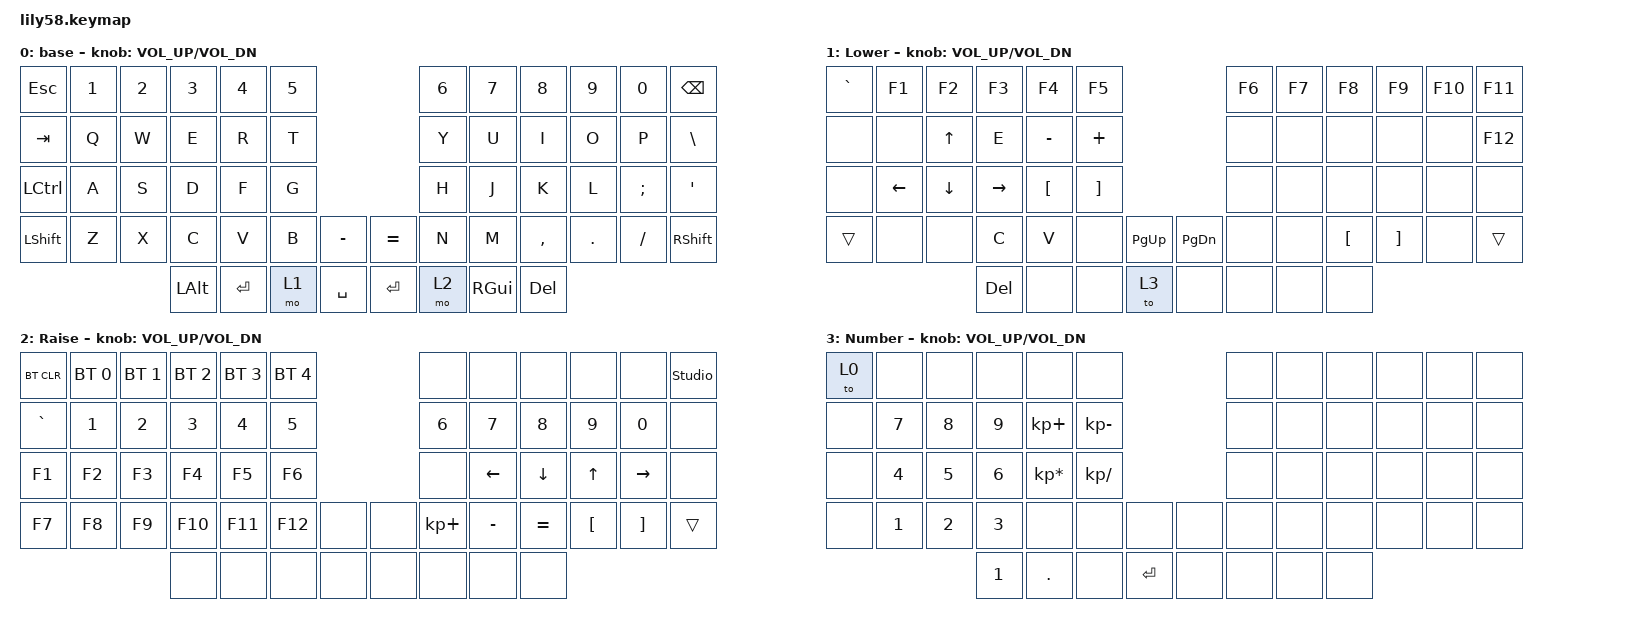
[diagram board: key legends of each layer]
/*
 * Copyright (c) 2020 The ZMK Contributors
 *
 * SPDX-License-Identifier: MIT
 */

#include <behaviors.dtsi>
#include <dt-bindings/zmk/bt.h>
#include <dt-bindings/zmk/ext_power.h>
#include <dt-bindings/zmk/keys.h>



/ {
    keymap {
        compatible = "zmk,keymap";

        default_layer {
              display-name = "base";
// ------------------------------------------------------------------------------------------------------------
// |  ESC  |  1  |  2  |  3   |  4   |  5   |                   |  6   |  7    |  8    |  9   |   0   |  BSPC |
// |  TAB  |  Q  |  W  |  E   |  R   |  T   |                   |  Y   |  U    |  I    |  O   |   P   |   \   |
// |  CTRL |  A  |  S  |  D   |  F   |  G   |                   |  H   |  J    |  K    |  L   |   ;   |   '   |
// | SHIFT |  Z  |  X  |  C   |  V   |  B   |   "_"  |  |  "="  |  N   |  M    |  ,    |  .   |   /   | SHIFT |
//                     | ALT  | ENT  | LOWER|  SPACE |  | ENTER | RAISE|  GUI  | DEL   |
            bindings = <
&kp ESC   &kp N1 &kp N2 &kp N3   &kp N4   &kp N5                      &kp N6 &kp N7    &kp N8    &kp N9  &kp N0   &kp BSPC
&kp TAB   &kp Q  &kp W  &kp E    &kp R    &kp T                       &kp Y  &kp U     &kp I     &kp O   &kp P    &kp BSLH
&kp LCTRL &kp A  &kp S  &kp D    &kp F    &kp G                       &kp H  &kp J     &kp K     &kp L   &kp SEMI &kp SQT
&kp LSHFT &kp Z  &kp X  &kp C    &kp V    &kp B  &kp MINUS  &kp EQUAL &kp N  &kp M     &kp COMMA &kp DOT &kp FSLH &kp RSHFT
                        &kp LALT &kp RET  &mo 1  &kp SPACE  &kp RET   &mo 2  &kp RGUI  &kp DEL
            >;

            sensor-bindings = <&inc_dec_kp C_VOL_UP C_VOL_DN>;
        };

        lower_layer {
                 display-name = "Lower";
// ------------------------------------------------------------------------------------------------------------
// |   ·   |  F1 |  F2 |  F3  |  F4  |  F5  |                   |  F6  |  F7   |  F8   |  F9  |  F10  |  F11  |
// |       |     |  ^  |  E   |  -   |  +   |                   |      |       |       |      |       |  F12  |
// |       |  <  |  v  |  >   |  [   |  ]   |                   |      |       |       |      |       |       |
// |       |     |     |  C   |  V   |      |  PGUP  |  | PGDN  |      |       |  [    |  ]   |       |       |
//                     | DEL  |      |      |        |  |       |      |       |       |
            bindings = <
&kp GRAVE  &kp F1           &kp F2            &kp F3            &kp F4       &kp F5                         &kp F6   &kp F7   &kp F8    &kp F9    &kp F10  &kp F11
&none      &none            &kp UP            &kp E             &kp MINUS    &kp PLUS                       &none    &none    &none     &none     &none    &kp F12
&none      &kp LEFT         &kp DOWN          &kp RIGHT         &kp LBKT     &kp RBKT                       &none    &none    &none     &none     &none    &none
&trans     &none            &none             &kp C             &kp V        &none    &kp PG_UP  &kp PG_DN  &none    &none    &kp LBKT  &kp RBKT  &none    &trans
                                              &kp DEL           &none        &none    &to 3      &none      &none    &none    &none
            >;

            sensor-bindings = <&inc_dec_kp C_VOL_UP C_VOL_DN>;
        };

        raise_layer {
            display-name = "Raise";
// ------------------------------------------------------------------------------------------------------------
// |       |     |     |      |      |      |                   |      |       |       |      |       |       |
// |   `   |  1  |  2  |  3   |  4   |  5   |                   |  6   |   7   |   8   |  9   |   0   |       |
// |   F1  |  F2 |  F3 |  F4  |  F5  |  F6  |                   |      |   <-  |   v   |  ^   |  ->   |       |
// |   F7  |  F8 |  F9 |  F10 |  F11 |  F12 |        |  |       |  +   |   -   |   =   |  [   |   ]   |   \   |
//                     |      |      |      |        |  |       |      |       |       |
            bindings = <
&bt BT_CLR  &bt BT_SEL 0   &bt BT_SEL 1    &bt BT_SEL 2    &bt BT_SEL 3  &bt BT_SEL 4                &none       &none     &none     &none    &none          &studio_unlock
&kp GRAVE   &kp N1         &kp N2          &kp N3          &kp N4        &kp N5                      &kp N6      &kp N7    &kp N8    &kp N9   &kp N0         &none
&kp F1      &kp F2         &kp F3          &kp F4          &kp F5        &kp F6                      &none       &kp LEFT  &kp DOWN  &kp UP   &kp RIGHT      &none
&kp F7      &kp F8         &kp F9          &kp F10         &kp F11       &kp F12  &none   &none      &kp KP_PLUS &kp MINUS &kp EQUAL &kp LBKT &kp RBKT       &trans
                                           &none           &none         &none    &none   &none      &none       &none     &none
            >;

            sensor-bindings = <&inc_dec_kp C_VOL_UP C_VOL_DN>;
        };

        number_layer {
            display-name = "Number";
// ------------------------------------------------------------------------------------------------------------
// |       |     |     |      |      |      |                   |      |       |       |      |       |       |
// |       |  7  |  8  |  9   |  +   |  -   |                   |      |       |       |      |       |       |
// |       |  4  |  5  |  6   |  *   |  /   |                   |      |       |       |      |       |       |
// |       |  1  |  2  |  3   |      |      |        |  |       |      |       |       |      |       |       |
//                     |   0  |  .   |      |   RET  |  |       |      |       |       |
            bindings = <
&to 0   &none   &none    &none    &none            &none                       &none      &none    &none    &none   &none    &none
&none   &kp N7  &kp N8   &kp N9   &kp KP_PLUS      &kp KP_MINUS                &none      &none    &none    &none   &none    &none
&none   &kp N4  &kp N5   &kp N6   &kp KP_MULTIPLY  &kp KP_DIVIDE               &none      &none    &none    &none   &none    &none
&none   &kp N1  &kp N2   &kp N3   &none            &none      &none   &none    &none      &none    &none    &none   &none    &none
                         &kp N1   &kp DOT          &none      &kp RET &none    &none      &none    &none
            >;

            sensor-bindings = <&inc_dec_kp C_VOL_UP C_VOL_DN>;
        };
  
        extra1 {
            status = "reserved";
        };

        extra2 {
            status = "reserved";
        };
    };
};
